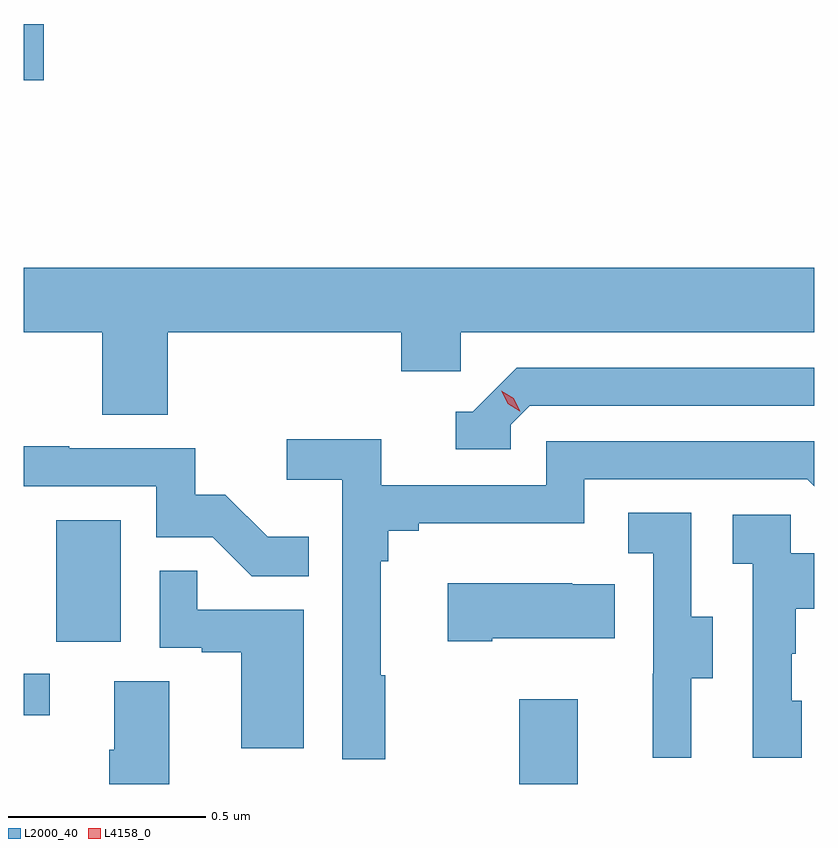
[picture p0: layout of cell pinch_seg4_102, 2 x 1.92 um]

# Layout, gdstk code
import gdstk
lib = gdstk.Library(unit=1e-6, precision=1e-09)
def R(c, l, rs):  # rectangles x0, y0, x1, y1
    for r in rs: c.add(gdstk.rectangle(r[:2], r[2:], *l))
def P(c, l, *ps):  # polygons
    for p in ps: c.add(gdstk.Polygon(p, *l))
L2000_40 = (2000, 40)
L4158_0 = (4158, 0)

pinch_seg4_102 = lib.new_cell('pinch_seg4_102')
R(pinch_seg4_102, L2000_40, [(1071.808,808.998,1071.955,809.212), (1070.554,809.172,1070.62,809.277), (1070.636,809.358,1070.8,809.665), (1070.554,810.778,1070.605,810.92)])
P(pinch_seg4_102, L2000_40, [(1070.918,810.14),(1071.509,810.14),(1071.509,810.042),(1071.66,810.042),(1071.66,810.14),(1072.554,810.14),(1072.554,810.304),(1070.554,810.304),(1070.554,810.14),(1070.753,810.14),(1070.753,809.932),(1070.918,809.932)],
  [(1071.786,809.907),(1071.834,809.955),(1072.554,809.955),(1072.554,810.051),(1071.801,810.051),(1071.69,809.94),(1071.647,809.94),(1071.647,809.844),(1071.786,809.844)],
  [(1071.469,809.273),(1071.457,809.273),(1071.457,809.561),(1071.476,809.561),(1071.476,809.638),(1071.553,809.638),(1071.553,809.657),(1071.972,809.657),(1071.972,809.769),(1072.536,809.769),(1072.554,809.751),(1072.554,809.865),(1071.876,809.865),(1071.876,809.754),(1071.458,809.754),(1071.458,809.87),(1071.219,809.87),(1071.219,809.768),(1071.36,809.768),(1071.36,809.061),(1071.469,809.061)],
  [(1071.275,809.623),(1071.171,809.623),(1071.064,809.73),(1070.988,809.73),(1070.988,809.847),(1070.669,809.847),(1070.669,809.852),(1070.554,809.852),(1070.554,809.751),(1070.889,809.751),(1070.889,809.622),(1071.033,809.622),(1071.131,809.524),(1071.275,809.524)],
  [(1072.243,809.266),(1072.297,809.266),(1072.297,809.421),(1072.242,809.421),(1072.242,809.684),(1072.083,809.684),(1072.083,809.581),(1072.146,809.581),(1072.146,809.277),(1072.145,809.277),(1072.145,809.064),(1072.243,809.064)],
  [(1072.522,809.208),(1072.497,809.208),(1072.497,809.327),(1072.507,809.327),(1072.507,809.441),(1072.554,809.441),(1072.554,809.581),(1072.494,809.581),(1072.494,809.679),(1072.347,809.679),(1072.347,809.555),(1072.398,809.555),(1072.398,809.064),(1072.522,809.064)],
  [(1071.262,809.439),(1070.993,809.439),(1070.993,809.537),(1070.898,809.537),(1070.898,809.343),(1071.005,809.343),(1071.005,809.331),(1071.104,809.331),(1071.104,809.088),(1071.262,809.088)],
  [(1071.739,809.366),(1072.049,809.366),(1072.049,809.503),(1071.941,809.503),(1071.941,809.506),(1071.627,809.506),(1071.627,809.359),(1071.739,809.359)],
  [(1070.923,809.258),(1070.783,809.258),(1070.783,809.084),(1070.771,809.084),(1070.771,808.998),(1070.923,808.998)])
P(pinch_seg4_102, L4158_0, [(1071.809,809.941),(1071.778,809.96),(1071.762,809.992),(1071.762,809.992),(1071.762,809.992),(1071.793,809.973),(1071.81,809.941),(1071.81,809.941)])

lib.write_gds('pinch_seg4_102.gds')
